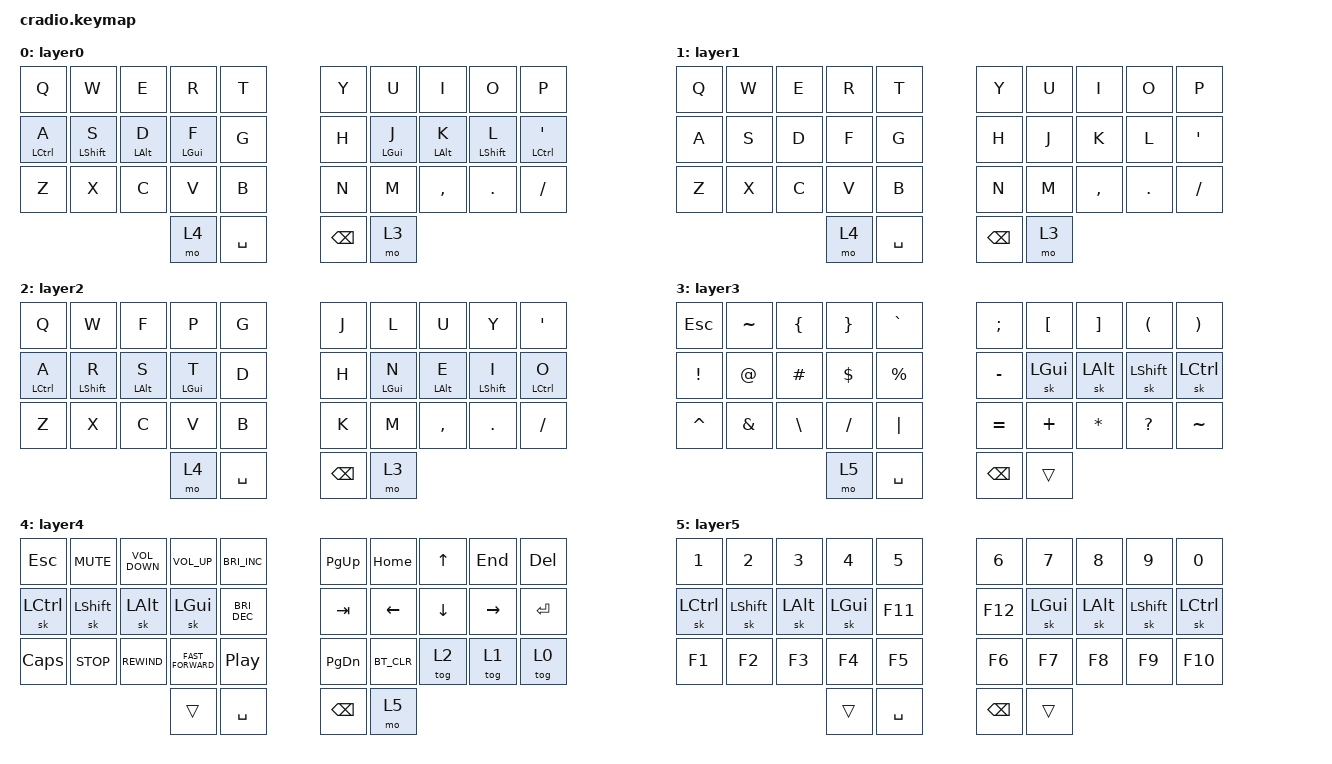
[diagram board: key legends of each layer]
 /*
  * Copyright (c) 2020 The ZMK Contributors
  *
  * SPDX-License-Identifier: MIT
  */

  #include <behaviors.dtsi>
  #include <dt-bindings/zmk/keys.h>
  #include <dt-bindings/zmk/bt.h>
  #include <dt-bindings/zmk/ext_power.h>

  &mt {
    flavor = "tap-preferred";
    tapping_term_ms = <285>;
   };

  / {
    keymap {
      compatible = "zmk,keymap";
  layer0 {
          bindings = <
          &kp Q &kp W &kp E &kp R &kp T                                                     &kp Y &kp U &kp I &kp O &kp P 
          &mt LEFT_CONTROL A &mt LEFT_SHIFT S &mt LEFT_ALT D &mt LEFT_GUI F &kp G           &kp H &mt LEFT_GUI J &mt LEFT_ALT K &mt LEFT_SHIFT L &mt LEFT_CONTROL SINGLE_QUOTE 
          &kp Z &kp X &kp C &kp V &kp B                                                     &kp N &kp M &kp COMMA &kp DOT &kp SLASH 
          &mo 4 &kp SPACE                                                                   &kp BACKSPACE &mo 3
          >;
        };
  layer1 {
          bindings = <
          &kp Q &kp W &kp E &kp R &kp T                 &kp Y &kp U &kp I &kp O &kp P 
          &kp A &kp S &kp D &kp F &kp G                 &kp H &kp J &kp K &kp L &kp SINGLE_QUOTE 
          &kp Z &kp X &kp C &kp V &kp B                 &kp N &kp M &kp COMMA &kp DOT &kp SLASH 
          &mo 4 &kp SPACE                               &kp BACKSPACE &mo 3
          >;
        };
  layer2 {
          bindings = <
          &kp Q &kp W &kp F &kp P &kp G                                                     &kp J &kp L &kp U &kp Y &kp SINGLE_QUOTE 
          &mt LEFT_CONTROL A &mt LEFT_SHIFT R &mt LEFT_ALT S &mt LEFT_GUI T &kp D           &kp H &mt LEFT_GUI N &mt LEFT_ALT E &mt LEFT_SHIFT I &mt LEFT_CONTROL O 
          &kp Z &kp X &kp C &kp V &kp B                                                     &kp K &kp M &kp COMMA &kp DOT &kp SLASH 
          &mo 4 &kp SPACE                                                                   &kp BACKSPACE &mo 3
          >;
        };
  layer3 {
          bindings = <
          &kp ESCAPE &kp TILDE &kp LBRC &kp RBRC &kp GRAVE              &kp SEMICOLON &kp LBKT &kp RBKT &kp LPAR &kp RPAR 
          &kp EXCL &kp AT &kp HASH &kp DLLR &kp PERCENT                 &kp MINUS &sk LGUI &sk LALT &sk LSHIFT &sk LCTRL 
          &kp CARET &kp AMPS &kp BACKSLASH &kp SLASH &kp PIPE           &kp EQUAL &kp PLUS &kp ASTRK &kp QUESTION &kp TILDE 
          &mo 5 &kp SPACE                                               &kp BACKSPACE &trans
          >;
        };
  layer4 {
          bindings = <
          &kp ESCAPE &kp C_MUTE &kp C_VOLUME_DOWN &kp C_VOLUME_UP &kp C_BRI_INC         &kp PAGE_UP &kp HOME &kp UP &kp END &kp DELETE 
          &sk LCTRL &sk LSHIFT &sk LALT &sk LGUI &kp C_BRI_DEC                             &kp TAB &kp LEFT &kp DOWN &kp RIGHT &kp ENTER 
          &kp CAPSLOCK &kp C_STOP &kp C_REWIND &kp C_FAST_FORWARD &kp C_PLAY_PAUSE      &kp PAGE_DOWN &kp BT_CLR &tog 2 &tog 1 &tog 0 
          &trans &kp SPACE                                                              &kp BACKSPACE &mo 5
          >;
        };
  layer5 {
          bindings = <
          &kp N1 &kp N2 &kp N3 &kp N4 &kp N5                &kp N6 &kp N7 &kp N8 &kp N9 &kp N0 
          &sk LCTRL &sk LSHIFT &sk LALT &sk LGUI &kp F11       &kp F12 &sk LGUI &sk LALT &sk LSHIFT &sk LCTRL 
          &kp F1 &kp F2 &kp F3 &kp F4 &kp F5                &kp F6 &kp F7 &kp F8 &kp F9 &kp F10 
          &trans &kp SPACE                                  &kp BACKSPACE &trans
          >;
        };
    };
  };
